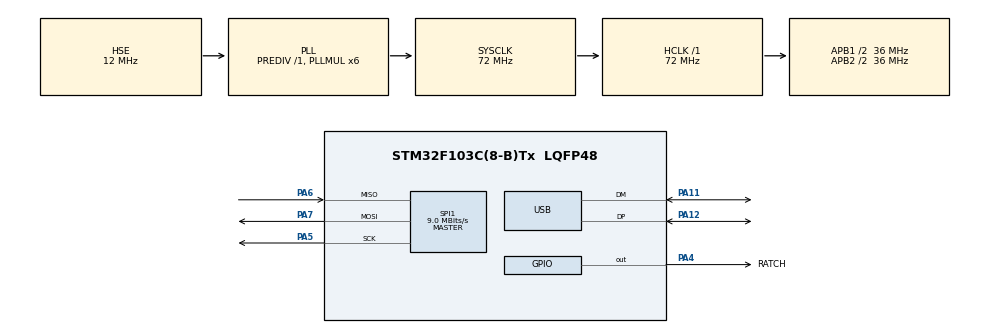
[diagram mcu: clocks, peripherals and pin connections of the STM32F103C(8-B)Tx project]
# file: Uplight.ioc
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Mcu.Family=STM32F1
Mcu.Name=STM32F103C(8-B)Tx
Mcu.Package=LQFP48
NVIC.PriorityGroup=NVIC_PRIORITYGROUP_4
NVIC.USB_LP_CAN1_RX0_IRQn=true\:0\:0\:false\:false\:true\:false\:true\:true
PA11.Mode=Device
PA11.Signal=USB_DM
PA12.Mode=Device
PA12.Signal=USB_DP
PA4.GPIO_Label=RATCH
PA4.Signal=GPIO_Output
PA5.Mode=Full_Duplex_Master
PA5.Signal=SPI1_SCK
PA6.Mode=Full_Duplex_Master
PA6.Signal=SPI1_MISO
PA7.Mode=Full_Duplex_Master
PA7.Signal=SPI1_MOSI
PD0-OSC_IN.Mode=HSE-External-Oscillator
PD0-OSC_IN.Signal=RCC_OSC_IN
PD1-OSC_OUT.Mode=HSE-External-Oscillator
PD1-OSC_OUT.Signal=RCC_OSC_OUT
ProjectManager.HeapSize=0x200
ProjectManager.StackSize=0x400
ProjectManager.TargetToolchain=Makefile
RCC.AHBFreq_Value=72000000
RCC.APB1CLKDivider=RCC_HCLK_DIV2
RCC.APB1Freq_Value=36000000
RCC.APB1TimFreq_Value=72000000
RCC.APB2CLKDivider=RCC_HCLK_DIV2
RCC.APB2Freq_Value=36000000
RCC.APB2TimFreq_Value=72000000
RCC.HCLKFreq_Value=72000000
RCC.HSE_VALUE=12000000
RCC.PLLMUL=RCC_PLL_MUL6
RCC.PLLSourceVirtual=RCC_PLLSOURCE_HSE
RCC.SYSCLKFreq_VALUE=72000000
RCC.SYSCLKSource=RCC_SYSCLKSOURCE_PLLCLK
RCC.USBFreq_Value=48000000
RCC.USBPrescaler=RCC_USBCLKSOURCE_PLL_DIV1_5
SPI1.BaudRatePrescaler=SPI_BAUDRATEPRESCALER_4
SPI1.CalculateBaudRate=9.0 MBits/s
SPI1.DataSize=SPI_DATASIZE_16BIT
SPI1.Direction=SPI_DIRECTION_2LINES
SPI1.Mode=SPI_MODE_MASTER
SPI1.VirtualType=VM_MASTER
USB_DEVICE.CLASS_NAME_FS=CDC
USB_DEVICE.VirtualMode=Cdc
USB_DEVICE.VirtualModeFS=Cdc_FS
VP_SYS_VS_ND.Mode=No_Debug
VP_USB_DEVICE_VS_USB_DEVICE_CDC_FS.Mode=CDC_FS
board=custom

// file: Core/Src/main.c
/* USER CODE BEGIN Header */
/**
 ******************************************************************************
 * @file           : main.c
 * @brief          : Main program body
 ******************************************************************************
 * @attention
 *
 * Copyright (c) 2023 STMicroelectronics.
 * All rights reserved.
 *
 * This software is licensed under terms that can be found in the LICENSE file
 * in the root directory of this software component.
 * If no LICENSE file comes with this software, it is provided AS-IS.
 *
 ******************************************************************************
 */
/* USER CODE END Header */
#include "main.h"
#include "spi.h"
#include "gpio.h"

/* USER CODE BEGIN Includes */
#include "usb_device.h"
#include "curemisc.h"
#include "curebuffer.h"
#include "usbd_midi_if.h"
/* USER CODE END Includes */

/* USER CODE BEGIN PV */
uint8_t uart_tx_dat;
/* USER CODE END PV */

void SystemClock_Config(void);

int main(void)
{

    /* MCU Configuration--------------------------------------------------------*/

    /* Reset of all peripherals, Initializes the Flash interface and the Systick. */
    HAL_Init();

    /* Configure the system clock */
    SystemClock_Config();

    /* Initialize all configured peripherals */
    MX_GPIO_Init();
    MX_SPI1_Init();
    /* USER CODE BEGIN 2 */
    MX_USB_MIDI_INIT();
    if (FUNC_ERROR == midiInit()) {
        while (1) {
            HAL_Delay(500);
        }
    }
    // Wait usb configuration.
    while (1) {
        if (USBD_STATE_CONFIGURED == hUsbDeviceFS.dev_state) {
            break;
        } else {
        }
    }
    /* USER CODE END 2 */

    /* Infinite loop */
    /* USER CODE BEGIN WHILE */

    while (1) {
        // Wait USB configuration when USB connection error has occurred.
        while (1) {
            if (USBD_STATE_CONFIGURED == hUsbDeviceFS.dev_state) {
                break;
            } else {
                HAL_Delay(200);
            }
        }

        //[USB-MIDI IN] to [MIDI JACK OUT]
        for (uint32_t cable_num = 0; cable_num < MIDI_OUT_JACK_NUM; cable_num++) {
            if (FUNC_SUCCESS == midiGetFromUsbRx(cable_num, &uart_tx_dat)) {
                // hoge
            }
        }

        /* USER CODE END WHILE */

    }
}

void SystemClock_Config(void)
{
    RCC_OscInitTypeDef RCC_OscInitStruct = {0};
    RCC_ClkInitTypeDef RCC_ClkInitStruct = {0};
    RCC_PeriphCLKInitTypeDef PeriphClkInit = {0};

    /** Initializes the RCC Oscillators according to the specified parameters
     * in the RCC_OscInitTypeDef structure.
     */
    RCC_OscInitStruct.OscillatorType = RCC_OSCILLATORTYPE_HSE;
    RCC_OscInitStruct.HSEState = RCC_HSE_ON;
    RCC_OscInitStruct.HSEPredivValue = RCC_HSE_PREDIV_DIV1;
    RCC_OscInitStruct.HSIState = RCC_HSI_ON;
    RCC_OscInitStruct.PLL.PLLState = RCC_PLL_ON;
    RCC_OscInitStruct.PLL.PLLSource = RCC_PLLSOURCE_HSE;
    RCC_OscInitStruct.PLL.PLLMUL = RCC_PLL_MUL6;
    if (HAL_RCC_OscConfig(&RCC_OscInitStruct) != HAL_OK) {
        Error_Handler();
    }

    /** Initializes the CPU, AHB and APB buses clocks
     */
    RCC_ClkInitStruct.ClockType = RCC_CLOCKTYPE_HCLK | RCC_CLOCKTYPE_SYSCLK
                                  | RCC_CLOCKTYPE_PCLK1 | RCC_CLOCKTYPE_PCLK2;
    RCC_ClkInitStruct.SYSCLKSource = RCC_SYSCLKSOURCE_PLLCLK;
    RCC_ClkInitStruct.AHBCLKDivider = RCC_SYSCLK_DIV1;
    RCC_ClkInitStruct.APB1CLKDivider = RCC_HCLK_DIV2;
    RCC_ClkInitStruct.APB2CLKDivider = RCC_HCLK_DIV2;

    if (HAL_RCC_ClockConfig(&RCC_ClkInitStruct, FLASH_LATENCY_2) != HAL_OK) {
        Error_Handler();
    }
    PeriphClkInit.PeriphClockSelection = RCC_PERIPHCLK_USB;
    PeriphClkInit.UsbClockSelection = RCC_USBCLKSOURCE_PLL_DIV1_5;
    if (HAL_RCCEx_PeriphCLKConfig(&PeriphClkInit) != HAL_OK) {
        Error_Handler();
    }
}

void Error_Handler(void)
{
    __disable_irq();
    while (1) {
    }
}
